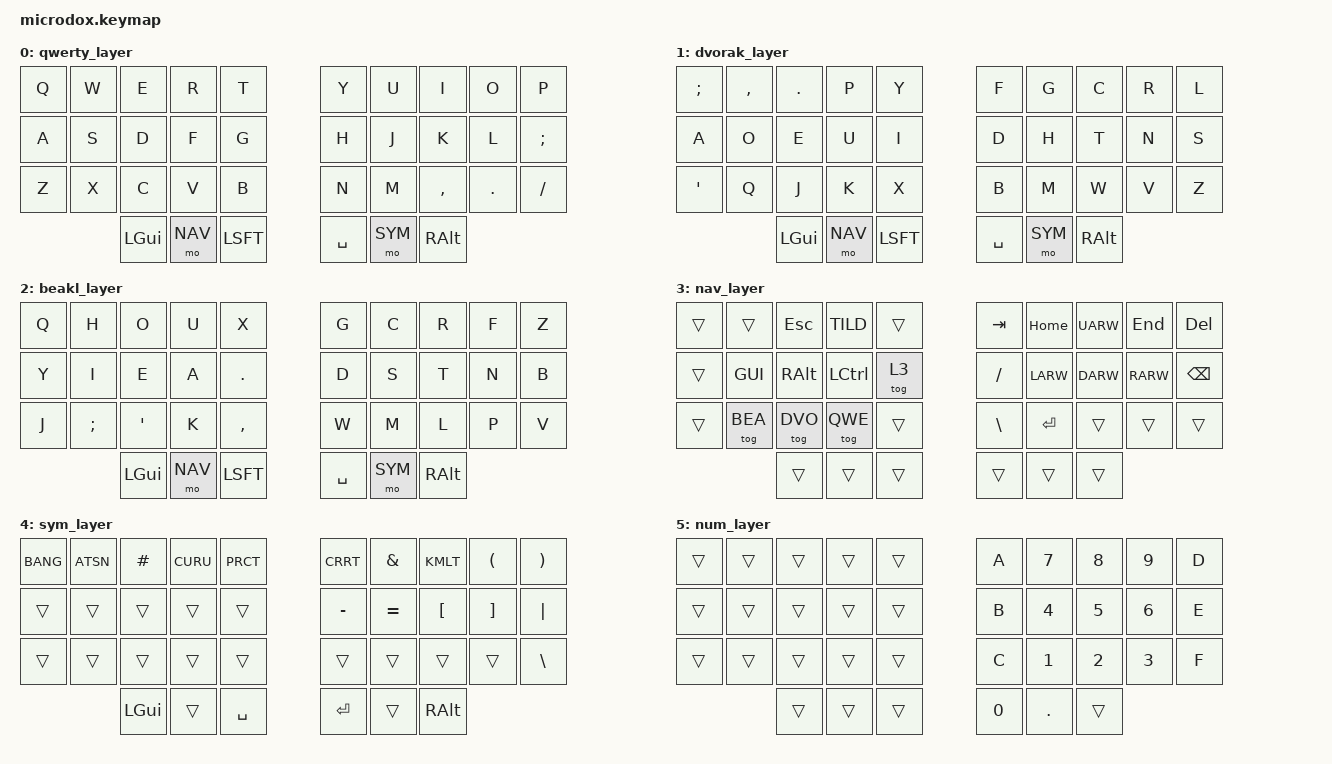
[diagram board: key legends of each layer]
/*
 * Copyright (c) 2020 The ZMK Contributors
 *
 * SPDX-License-Identifier: MIT
 */

#include <behaviors.dtsi>
#include <dt-bindings/zmk/keys.h>
#include <dt-bindings/zmk/bt.h>

#define QWE     0 /* (QWERTY_LAYER) */
#define DVO     1 /* (DVORAK_LAYER) */
#define BEA     2 /* (BEAKL_LAYER) */
#define NAV     3 /* (NAVIGATION_LAYER) */
#define SYM     4 /* (SYMBOL_LAYER) */
#define NUM     5 /* (NUMBER_LAYER) */

/ {
        keymap {
                compatible = "zmk,keymap";

                qwerty_layer {
// -----------------------------------------------------------------------------------------
// |  Q  |  W  |  E  |  R  |  T  |   |  Y  |  U   |  I  |  O  |  P  |
// |  A  |  S  |  D  |  F  |  G  |   |  H  |  J   |  K  |  L  |  ;  |
// |  Z  |  X  |  C  |  V  |  B  |   |  N  |  M   |  ,  |  .  |  /  |
//             | GUI | NAV | SFT |   | SPC | SYM  | ALT |
                        bindings = <
   &kp Q &kp W &kp E    &kp R   &kp T     &kp Y   &kp U   &kp I    &kp O   &kp P
   &kp A &kp S &kp D    &kp F   &kp G     &kp H   &kp J   &kp K    &kp L   &kp SCLN
   &kp Z &kp X &kp C    &kp V   &kp B     &kp N   &kp M   &kp CMMA &kp DOT &kp FSLH
               &kp LGUI &mo NAV &kp LSFT  &kp SPC &mo SYM &kp RALT
                        >;
                };

                dvorak_layer {
// -----------------------------------------------------------------------------------------
// |  ;  |  ,  |  .  |  P  |  Y  |   |  F  |  G   |  C  |  R  |  L  |
// |  A  |  O  |  E  |  U  |  I  |   |  D  |  H   |  T  |  N  |  S  |
// |  '  |  Q  |  J  |  K  |  X  |   |  B  |  M   |  W  |  V  |  Z  |
//             | GUI | NAV | SFT |   | SPC | SYM  | ALT |
                        bindings = <
   &kp SCLN &kp CMMA &kp DOT  &kp P   &kp Y     &kp F   &kp G   &kp C &kp R &kp L
   &kp A    &kp O    &kp E    &kp U   &kp I     &kp D   &kp H   &kp T &kp N &kp S
   &kp QUOT &kp Q    &kp J    &kp K   &kp X     &kp B   &kp M   &kp W &kp V &kp Z
                     &kp LGUI &mo NAV &kp LSFT  &kp SPC &mo SYM &kp RALT
                        >;
                };

                beakl_layer {
// -----------------------------------------------------------------------------------------
// |  Q  |  H  |  O  |  U  |  X   |   |  G  |  C   |  R  |  F  |  Z  |
// |  Y  |  I  |  E  |  A  |  .   |   |  D  |  S   |  T  |  N  |  B  |
// |  J  |  ;  |  '  |  K  |  ,   |   |  W  |  M   |  L  |  P  |  V  |
//             | GUI | NAV | SHFT |   | SPC | SYM  | ALT |
                        bindings = <
   &kp Q &kp H    &kp O    &kp U   &kp X      &kp G   &kp C   &kp R &kp F &kp Z
   &kp Y &kp I    &kp E    &kp A   &kp DOT    &kp D   &kp S   &kp T &kp N &kp B
   &kp J &kp SCLN &kp QUOT &kp K   &kp CMMA   &kp W   &kp M   &kp L &kp P &kp V
                  &kp LGUI &mo NAV &kp LSFT   &kp SPC &mo SYM &kp RALT
                        >;
                };
                nav_layer {
// -----------------------------------------------------------------------------------------
// |     |     | ESC |  ~   |     |   | TAB | HOME |  UP  | END | DEL  |
// |     | GUI | ALT | CTRL | NUM |   |  /  | LEFT | DOWN | RGT | BKSP |
// |     | BEA | DVO | QWE  |     |   |  \  | ENT  |      |     |      |
//             |     |      |     |   |     |      |      |
                        bindings = <
   &trans &trans   &kp ESC   &kp TILD &trans     &kp TAB  &kp HOME &kp UARW &kp END  &kp DEL
   &trans &kp GUI  &kp RALT  &kp LCTL &tog 3     &kp FSLH &kp LARW &kp DARW &kp RARW &kp BKSP
   &trans &tog BEA &tog DVO  &tog QWE &trans     &kp BSLH &kp RET  &trans   &trans    &trans
                   &trans    &trans   &trans     &trans   &trans   &trans
                        >;
                };

                sym_layer {
// -----------------------------------------------------------------------------------------
// |  !  |  @  |  #  |  $  |  %  |   |  ^  |  &  |  *  |  (  |  )  |
// |     |     |     |     |     |   |  -  |  =  |  {  |  }  | "|" |
// |     |     |     |     |     |   |  _  |  +  |  [  |  ]  |  \  |
//             | GUI |     | SPC |   | ENT |     | ALT |
                        bindings = <
   &kp BANG  &kp ATSN  &kp HASH  &kp CURU  &kp PRCT    &kp CRRT  &kp AMPS &kp KMLT &kp LPRN &kp RPRN
   &trans    &trans    &trans    &trans    &trans      &kp MINUS &kp EQL  &kp LBKT &kp RBKT &kp PIPE
   &trans    &trans    &trans    &trans    &trans      &trans    &trans   &trans   &trans   &kp BSLH
                       &kp LGUI  &trans    &kp SPC     &kp RET   &trans   &kp RALT
                        >;
                };

                num_layer {
// -----------------------------------------------------------------------------------------
// |     |     |     |     |     |   |  A  |  7  |  8  |  9  |  D  |
// |     |     |     |     |     |   |  B  |  4  |  5  |  6  |  E  |
// |     |     |     |     |     |   |  C  |  1  |  2  |  3  |  F  |
//             |     |     |     |   |  0  |  .  |     |
                        bindings = <
   &trans &trans &trans &trans &trans    &kp A     &kp NUM_7 &kp NUM_8 &kp NUM_9 &kp D
   &trans &trans &trans &trans &trans    &kp B     &kp NUM_4 &kp NUM_5 &kp NUM_6 &kp E
   &trans &trans &trans &trans &trans    &kp C     &kp NUM_1 &kp NUM_2 &kp NUM_3 &kp F
                 &trans &trans &trans    &kp NUM_0 &kp DOT   &trans
                        >;
                };
        };
};

